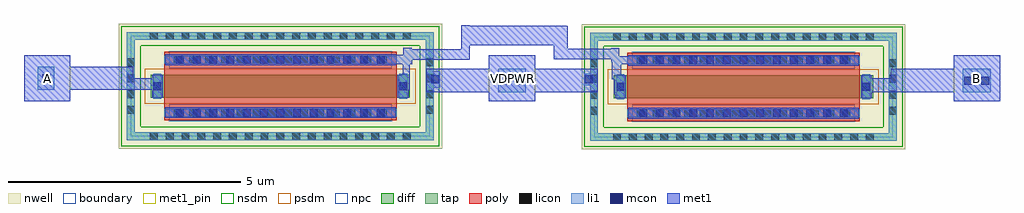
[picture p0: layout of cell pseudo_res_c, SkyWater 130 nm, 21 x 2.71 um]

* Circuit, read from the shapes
.subckt pseudo_res_c A B VDPWR
XM1 sky130_fd_pr__pfet_01v8_SF6GDQ_0/D sky130_fd_pr__pfet_01v8_SF6GDQ_0/D A VDPWR sky130_fd_pr__pfet_01v8 w=0.5 l=5
XM2 B sky130_fd_pr__pfet_01v8_SF6GDQ_0/D sky130_fd_pr__pfet_01v8_SF6GDQ_0/D VDPWR sky130_fd_pr__pfet_01v8 w=0.5 l=5
.ends

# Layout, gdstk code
import gdstk
lib = gdstk.Library(unit=1e-6, precision=1e-09)
def R(c, l, rs):  # rectangles x0, y0, x1, y1
    for r in rs: c.add(gdstk.rectangle(r[:2], r[2:], *l))
def A(c, l, x, y, w, h, nx, ny, dx, dy):  # array of equal rectangles
    R(c, l, [(x+i*dx, y+j*dy, x+i*dx+w, y+j*dy+h) for i in range(nx) for j in range(ny)])
nwell = (64, 20)
diff = (65, 20)
tap = (65, 44)
poly = (66, 20)
licon = (66, 44)
li1 = (67, 20)
mcon = (67, 44)
met1_pin = (68, 16)
met1 = (68, 20)
nsdm = (93, 44)
psdm = (94, 20)
npc = (95, 20)
boundary = (235, 4)

sky130_fd_pr__pfet_01v8_ = lib.new_cell('sky130_fd_pr__pfet_01v8_SF6GDQ')
R(sky130_fd_pr__pfet_01v8_, nwell, [(-3.48,-1.345,3.48,1.345)])
R(sky130_fd_pr__pfet_01v8_, diff, [(-2.79,-0.25,2.79,0.25)])
R(sky130_fd_pr__pfet_01v8_, tap, [(-3.3,-1.165,3.3,-0.995), (-3.3,-0.995,-3.13,0.995), (3.13,-0.995,3.3,0.995), (-3.3,0.995,3.3,1.165)])
R(sky130_fd_pr__pfet_01v8_, poly, [(-2.5,-0.735,2.5,0.735)])
A(sky130_fd_pr__pfet_01v8_, licon, -2.805, -1.165, 0.17, 0.17, 17, 2, 0.34, 2.16)
A(sky130_fd_pr__pfet_01v8_, licon, -2.295, -0.655, 0.17, 0.17, 14, 2, 0.34, 1.14)
A(sky130_fd_pr__pfet_01v8_, licon, -3.3, -0.595, 0.17, 0.17, 1, 4, 0, 0.34)
A(sky130_fd_pr__pfet_01v8_, licon, 3.13, -0.595, 0.17, 0.17, 1, 4, 0, 0.34)
R(sky130_fd_pr__pfet_01v8_, licon, [(-2.73,-0.085,-2.56,0.085), (2.56,-0.085,2.73,0.085)])
R(sky130_fd_pr__pfet_01v8_, li1, [(-3.3,-1.165,3.3,-0.995), (-3.3,-0.995,-3.13,0.995), (3.13,-0.995,3.3,0.995), (-2.5,-0.655,2.5,-0.485), (-2.73,-0.27,-2.56,0.27), (2.56,-0.27,2.73,0.27), (-2.5,0.485,2.5,0.655), (-3.3,0.995,3.3,1.165)])
A(sky130_fd_pr__pfet_01v8_, mcon, -2.245, -0.655, 0.17, 0.17, 13, 2, 0.36, 1.14)
R(sky130_fd_pr__pfet_01v8_, mcon, [(-2.73,-0.085,-2.56,0.085), (2.56,-0.085,2.73,0.085)])
R(sky130_fd_pr__pfet_01v8_, met1, [(-2.48,-0.685,2.48,-0.455), (-2.76,-0.25,-2.53,0.25), (2.53,-0.25,2.76,0.25), (-2.48,0.455,2.48,0.685)])
R(sky130_fd_pr__pfet_01v8_, nsdm, [(-3.425,-1.29,3.425,-0.87), (-3.425,-0.87,-3.005,0.87), (3.005,-0.87,3.425,0.87), (-3.425,0.87,3.425,1.29)])
R(sky130_fd_pr__pfet_01v8_, psdm, [(-2.915,-0.375,2.915,0.375)])
R(sky130_fd_pr__pfet_01v8_, npc, [(-2.395,-0.755,2.395,-0.385), (-2.395,0.385,2.395,0.755)])
R(sky130_fd_pr__pfet_01v8_, boundary, [(-3.215,-1.08,3.215,1.08)])
sky130_fd_pr__pfet_01v8_.add(gdstk.Label('B', (0,-1.08), layer=67, texttype=5))
sky130_fd_pr__pfet_01v8_.add(gdstk.Label('D', (-2.645,0), layer=67, texttype=5))
sky130_fd_pr__pfet_01v8_.add(gdstk.Label('S', (2.645,0), layer=67, texttype=5))
sky130_fd_pr__pfet_01v8_.add(gdstk.Label('G', (0,0.57), layer=67, texttype=5))

pseudo_res_c = lib.new_cell('pseudo_res_c')
R(pseudo_res_c, li1, [(7.2,-3.8,7.8,-3.3), (17.2,-3.8,17.8,-3.3), (-2.7,-3.75,-2.35,-3.25), (5.75,-3.7,5.95,-3.35), (9.05,-3.65,9.25,-3.4)])
R(pseudo_res_c, mcon, [(7.235,-3.635,7.405,-3.465), (7.595,-3.635,7.765,-3.465), (17.235,-3.635,17.405,-3.465), (17.595,-3.635,17.765,-3.465), (5.765,-3.61,5.935,-3.44), (9.065,-3.61,9.235,-3.44), (-2.61,-3.585,-2.44,-3.415)])
A(pseudo_res_c, met1_pin, -3, -4, 1, 1, 3, 1, 10, 0)
R(pseudo_res_c, met1, [(-3,-4,-2,-3.75), (7,-4,8,-3.8), (17,-4,18,-3.8), (9.7,-3.845,9.9,-3.52), (5.65,-3.8,9.35,-3.3), (15.05,-3.8,18,-3.5), (-3,-3.75,-0.05,-3.5), (5.15,-3.75,5.3,-3.195), (9.65,-3.52,9.9,-3.45), (-3,-3.5,-0.65,-3.25), (15.65,-3.5,18,-3.3), (9.65,-3.45,9.85,-3.2), (7,-3.3,8,-3), (17,-3.3,18,-3), (-3,-3.25,-2,-3), (9.65,-3.2,10.45,-3.15), (4.7,-3.195,5.35,-3.1), (9.64,-3.15,10.45,-3.09), (4.7,-3.1,6.585,-3.09), (4.7,-3.09,6.595,-2.99), (8.4,-3.09,10.45,-3.03), (8.4,-3.03,9.81,-2.86), (5.155,-2.99,6.595,-2.88), (5.155,-2.88,5.345,-2.845), (6.41,-2.88,6.595,-2.785), (8.4,-2.86,8.695,-2.785), (9.64,-2.86,9.81,-2.85), (6.41,-2.785,8.695,-2.38), (6.41,-2.38,8.69,-2.37), (6.41,-2.37,6.595,-2.355)])
pseudo_res_c.add(gdstk.Reference(sky130_fd_pr__pfet_01v8_, (12.48,-3.685)))
pseudo_res_c.add(gdstk.Reference(sky130_fd_pr__pfet_01v8_, (2.515,-3.67)))
pseudo_res_c.add(gdstk.Label('VDPWR', (7.5,-3.5), layer=68, texttype=5))
pseudo_res_c.add(gdstk.Label('B', (17.5,-3.5), layer=68, texttype=5))
pseudo_res_c.add(gdstk.Label('A', (-2.5,-3.5), layer=68, texttype=5))

lib.write_gds('pseudo_res_c.gds')
